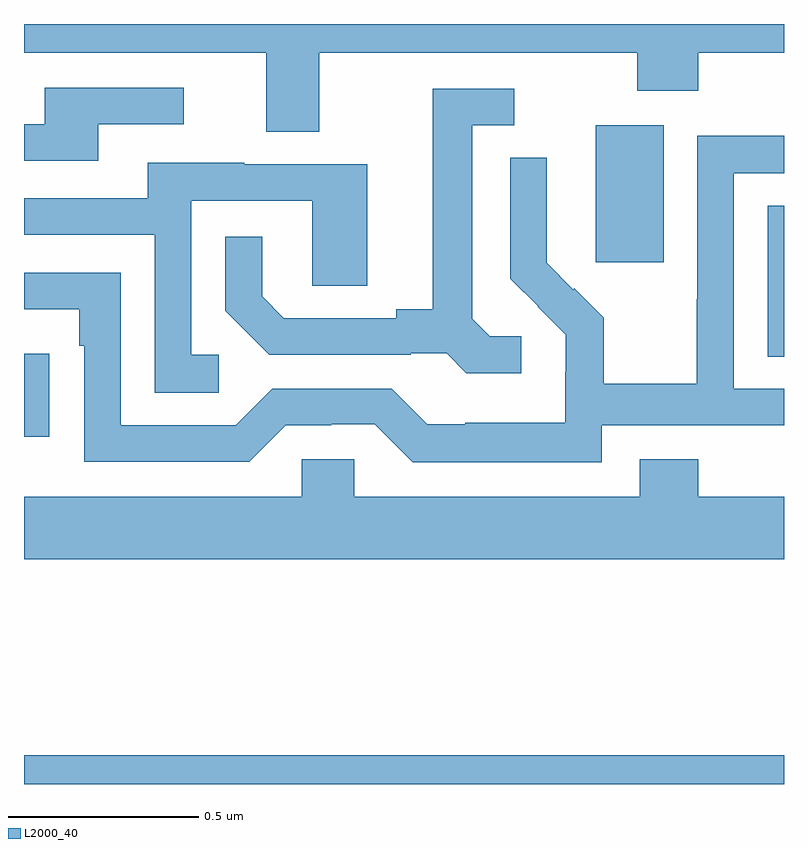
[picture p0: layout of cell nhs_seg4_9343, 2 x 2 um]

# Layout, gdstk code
import gdstk
lib = gdstk.Library(unit=1e-6, precision=1e-09)
def R(c, l, rs):  # rectangles x0, y0, x1, y1
    for r in rs: c.add(gdstk.rectangle(r[:2], r[2:], *l))
def P(c, l, *ps):  # polygons
    for p in ps: c.add(gdstk.Polygon(p, *l))
L2000_40 = (2000, 40)

nhs_seg4_9343 = lib.new_cell('nhs_seg4_9343')
R(nhs_seg4_9343, L2000_40, [(226,790.9,228,790.976), (226,791.814,226.067,792.032), (227.957,792.025,228,792.422), (227.504,792.273,227.683,792.634)])
P(nhs_seg4_9343, L2000_40, [(226.777,792.824),(227.614,792.824),(227.614,792.725),(227.774,792.725),(227.774,792.824),(228,792.824),(228,792.9),(226,792.9),(226,792.824),(226.637,792.824),(226.637,792.616),(226.777,792.616)],
  [(226.195,792.636),(226.42,792.636),(226.42,792.732),(226.055,792.732),(226.055,792.636),(226,792.636),(226,792.54),(226.195,792.54)],
  [(227.308,792.078),(227.226,792.078),(227.179,792.125),(227.179,792.633),(227.29,792.633),(227.29,792.729),(227.075,792.729),(227.075,792.149),(226.979,792.149),(226.979,792.126),(226.684,792.126),(226.627,792.183),(226.627,792.34),(226.53,792.34),(226.53,792.146),(226.646,792.03),(227.018,792.03),(227.018,792.033),(227.112,792.033),(227.164,791.981),(227.308,791.981)],
  [(227.52,791.844),(228,791.844),(228,791.94),(227.868,791.94),(227.868,792.507),(228,792.507),(228,792.606),(227.772,792.606),(227.772,792.176),(227.77,792.176),(227.77,791.953),(227.525,791.953),(227.525,792.127),(227.448,792.204),(227.445,792.201),(227.375,792.272),(227.375,792.394),(227.376,792.394),(227.376,792.548),(227.28,792.548),(227.28,792.23),(227.353,792.157),(227.352,792.156),(227.426,792.082),(227.426,791.985),(227.424,791.985),(227.424,791.851),(227.161,791.851),(227.161,791.847),(227.061,791.847),(226.968,791.94),(226.653,791.94),(226.557,791.844),(226.254,791.844),(226.254,792.246),(226,792.246),(226,792.15),(226.145,792.15),(226.145,792.053),(226.158,792.053),(226.158,791.748),(226.593,791.748),(226.689,791.844),(226.808,791.844),(226.808,791.847),(226.923,791.847),(227.023,791.747),(227.52,791.747)],
  [(226.513,792.03),(226.44,792.03),(226.44,792.435),(226.758,792.435),(226.758,792.211),(226.903,792.211),(226.903,792.531),(226.579,792.531),(226.579,792.535),(226.325,792.535),(226.325,792.441),(226,792.441),(226,792.345),(226.344,792.345),(226.344,791.929),(226.513,791.929)],
  [(228,791.656),(227.774,791.656),(227.774,791.755),(227.621,791.755),(227.621,791.656),(226.869,791.656),(226.869,791.754),(226.731,791.754),(226.731,791.656),(226,791.656),(226,791.492),(228,791.492)])

lib.write_gds('nhs_seg4_9343.gds')
